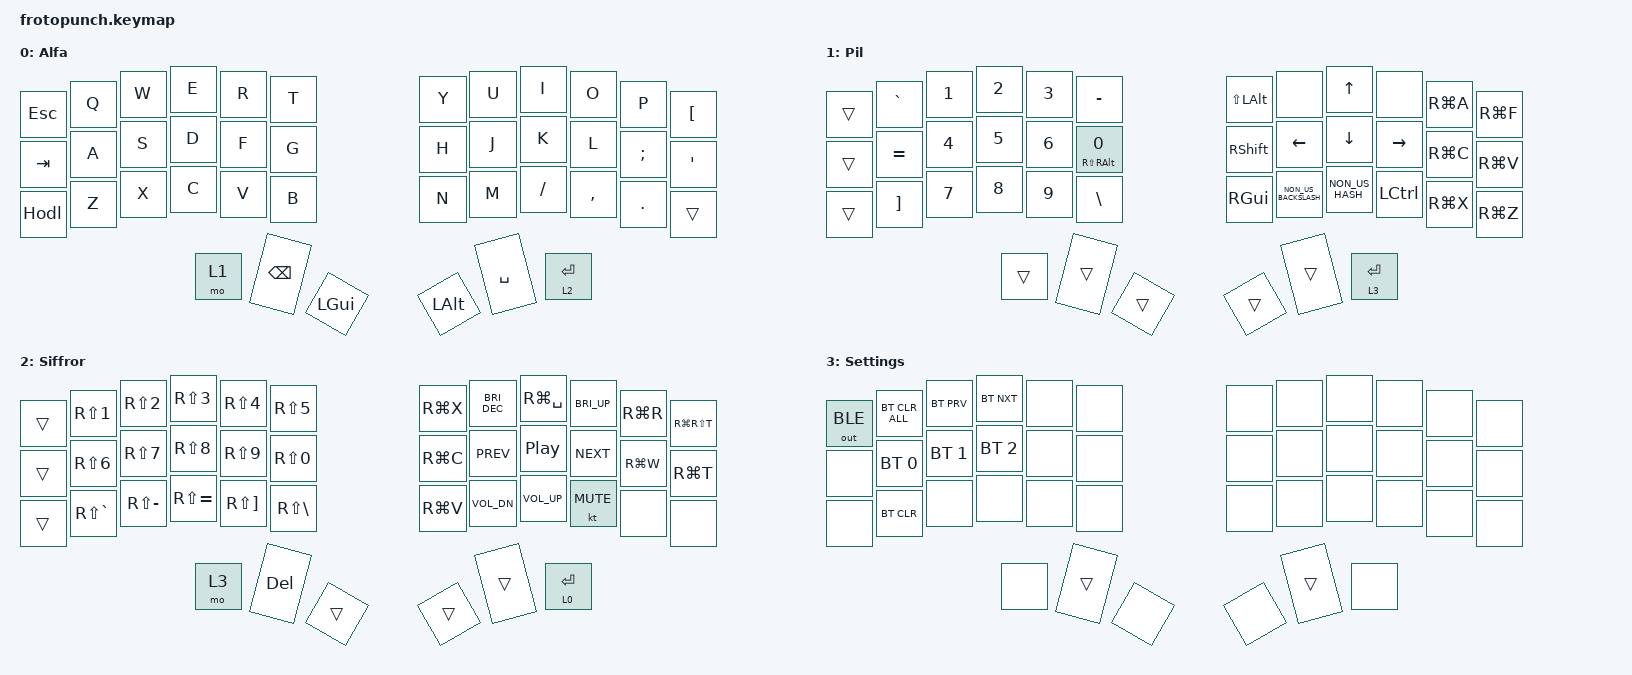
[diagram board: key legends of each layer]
/*
 * Copyright (c) 2020 The ZMK Contributors
 *
 * SPDX-License-Identifier: MIT
 */

#include <behaviors.dtsi>
#include <dt-bindings/zmk/outputs.h>
#include <dt-bindings/zmk/bt.h>
#include <dt-bindings/zmk/keys.h>

#include <locale/keys_sv.h>
//#include "zmk-helpers/unicode-chars/swedish.dtsi"

&caps_word {
    continue-list = <SPACE SLASH UNDERSCORE BACKSPACE DELETE LBKT LEFT_BRACKET SQT SINGLE_QUOTE SEMICOLON SEMI>;
};

/ {
    combos { compatible = "zmk,combos"; };

    behaviors {

        // prevent multiple uppercase letters on sticky shift
        skq: sticky_key_quick_release {
            compatible = "zmk,behavior-sticky-key";
            label = "STICKY_KEY_QUICK_RELEASE";
            #binding-cells = <1>;
            bindings = <&kp>;
            release-after-ms = <1000>;
            quick-release;
            //ignore-modifiers;
        };

        // hold: shift | tap: quick sticky shift | dtap: caps-word
        Hodl: Hodl {
            compatible = "zmk,behavior-tap-dance";
            label = "HODL";
            #binding-cells = <0>;
            bindings = <&skq LSHIFT>, <&caps_word>;
        };

        OptBsp: OptBsp {
            compatible = "zmk,behavior-tap-dance";
            label = "OPTBSP";
            #binding-cells = <0>;
            bindings = <&kp BACKSPACE>, <&kp LA(BACKSPACE)>;
        };
    };

    keymap {
        compatible = "zmk,keymap";

        Alfa {
            display-name = "Alfa";
            bindings = <
                &kp ESC  &kp Q  &kp W  &kp E  &kp R  &kp T            &kp Y  &kp U  &kp I      &kp O      &kp P          &kp LEFT_BRACKET
                &kp TAB  &kp A  &kp S  &kp D  &kp F  &kp G            &kp H  &kp J  &kp K      &kp L      &kp SEMICOLON  &kp SINGLE_QUOTE
                &Hodl    &kp Z  &kp X  &kp C  &kp V  &kp B            &kp N  &kp M  &kp SLASH  &kp COMMA  &kp PERIOD     &trans
                                       &mo 1  &kp BSPC  &kp LEFT_GUI  &kp LEFT_ALT  &kp SPACE  &lt 2 ENTER
            >;
        };

        Pil {
            display-name = "Pil";
            bindings = <
                &trans  &kp GRAVE &kp N1 &kp N2 &kp N3  &kp MINUS                        &kp LS(LEFT_ALT)  &none     &kp UP_ARROW     &none      &kp RG(A)  &kp RG(F)
                &trans  &kp EQUAL &kp N4 &kp N5 &kp N6  &mt RS(RIGHT_ALT) NUMBER_0       &kp RIGHT_SHIFT   &kp LEFT  &kp DOWN         &kp RIGHT  &kp RG(C)  &kp RG(V)
                &trans  &kp RIGHT_BRACKET &kp N7 &kp N8 &kp N9 &kp BACKSLASH             &kp RIGHT_GUI     &kp NON_US_BACKSLASH  &kp NON_US_HASH        &kp LCTRL  &kp RG(X)  &kp RG(Z)
                &trans  &trans  &trans                                                   &trans            &trans    &lt 3 ENTER
            >;
        };

        Siffror {
            display-name = "Siffror";
            bindings = <
                &trans  &kp RS(NUMBER_1)  &kp RS(NUMBER_2)  &kp RS(NUMBER_3)  &kp RS(NUMBER_4)       &kp RS(N5)           &kp RG(X)  &kp C_BRI_DEC  &kp RG(SPACE)     &kp C_BRI_UP  &kp RG(R)  &kp RG(RS(T))
                &trans  &kp RS(NUMBER_6)  &kp RS(N7)        &kp RS(N8)        &kp RS(N9)             &kp RS(N0)           &kp RG(C)  &kp C_PREV     &kp C_PLAY_PAUSE  &kp C_NEXT    &kp RG(W)  &kp RG(T)
                &trans  &kp RS(GRAVE)     &kp RS(MINUS)     &kp RS(EQUAL)     &kp RS(RIGHT_BRACKET)  &kp RS(BACKSLASH)    &kp RG(V)  &kp C_VOL_DN   &kp C_VOLUME_UP   &kt C_MUTE    &none      &none
                                                            &mo 3             &kp DELETE             &trans               &trans     &trans         &lt 0 ENTER
            >;
        };

        Settings {
            display-name = "Settings";
            bindings = <
                &out OUT_BLE  &bt BT_CLR_ALL  &bt BT_PRV    &bt BT_NXT    &none  &none    &none  &none  &none  &none  &none  &none
                &none         &bt BT_SEL 0    &bt BT_SEL 1  &bt BT_SEL 2  &none  &none    &none  &none  &none  &none  &none  &none
                &none         &bt BT_CLR      &none         &none         &none  &none    &none  &none  &none  &none  &none  &none
                                                            &none         &trans &none    &none  &trans  &none
            >;
        };
        extra1 {
            status = "reserved";
        };

        extra2 {
            status = "reserved";
        };

        extra_3 {
                status = "reserved";
        };
    };
};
